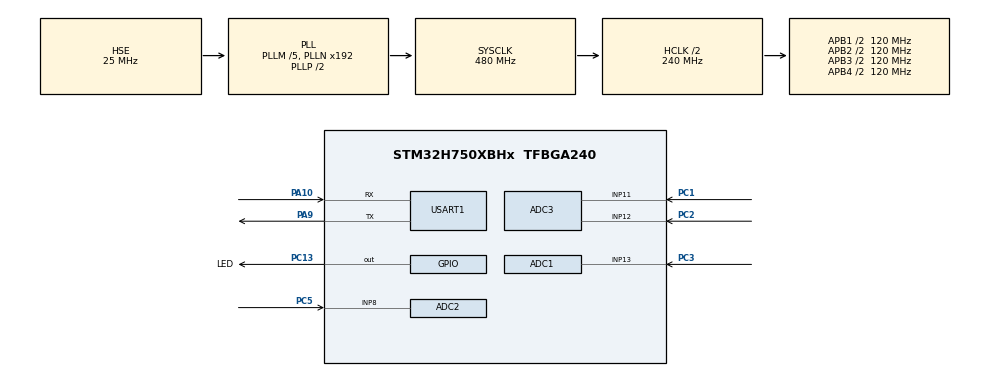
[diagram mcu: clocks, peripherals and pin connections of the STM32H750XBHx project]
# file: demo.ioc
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ADC1.Channel-0\#ChannelRegularConversion=ADC_CHANNEL_12
ADC1.Channel-1\#ChannelRegularConversion=ADC_CHANNEL_13
ADC1.ContinuousConvMode=ENABLE
ADC1.ConversionDataManagement=ADC_CONVERSIONDATA_DMA_CIRCULAR
ADC1.NbrOfConversion=2
ADC1.NbrOfConversionFlag=1
ADC1.OffsetNumber-0\#ChannelRegularConversion=ADC_OFFSET_NONE
ADC1.OffsetNumber-1\#ChannelRegularConversion=ADC_OFFSET_NONE
ADC1.OffsetSignedSaturation-0\#ChannelRegularConversion=DISABLE
ADC1.OffsetSignedSaturation-1\#ChannelRegularConversion=DISABLE
ADC1.Overrun=ADC_OVR_DATA_OVERWRITTEN
ADC1.OversamplingMode=ENABLE
ADC1.Rank-0\#ChannelRegularConversion=1
ADC1.Rank-1\#ChannelRegularConversion=2
ADC1.Ratio=1024
ADC1.RightBitShift=ADC_RIGHTBITSHIFT_10
ADC1.SamplingTime-0\#ChannelRegularConversion=ADC_SAMPLETIME_810CYCLES_5
ADC1.SamplingTime-1\#ChannelRegularConversion=ADC_SAMPLETIME_810CYCLES_5
ADC1.master=1
ADC2.Channel-2\#ChannelRegularConversion=ADC_CHANNEL_8
ADC2.ConversionDataManagement=ADC_CONVERSIONDATA_DMA_CIRCULAR
ADC2.ExternalTrigConv=ADC_EXTERNALTRIG_T6_TRGO
ADC2.NbrOfConversionFlag=1
ADC2.OffsetNumber-2\#ChannelRegularConversion=ADC_OFFSET_NONE
ADC2.OffsetSignedSaturation-2\#ChannelRegularConversion=DISABLE
ADC2.Overrun=ADC_OVR_DATA_OVERWRITTEN
ADC2.Rank-2\#ChannelRegularConversion=1
ADC2.SamplingTime-2\#ChannelRegularConversion=ADC_SAMPLETIME_810CYCLES_5
ADC3.Channel-0\#ChannelRegularConversion=ADC_CHANNEL_11
ADC3.Channel-1\#ChannelRegularConversion=ADC_CHANNEL_12
ADC3.Channel-2\#ChannelRegularConversion=ADC_CHANNEL_VREFINT
ADC3.Channel-4\#ChannelRegularConversion=ADC_CHANNEL_TEMPSENSOR
ADC3.ContinuousConvMode=ENABLE
ADC3.ConversionDataManagement=ADC_CONVERSIONDATA_DMA_CIRCULAR
ADC3.NbrOfConversion=4
ADC3.NbrOfConversionFlag=1
ADC3.OffsetNumber-0\#ChannelRegularConversion=ADC_OFFSET_NONE
ADC3.OffsetNumber-1\#ChannelRegularConversion=ADC_OFFSET_NONE
ADC3.OffsetNumber-2\#ChannelRegularConversion=ADC_OFFSET_NONE
ADC3.OffsetNumber-4\#ChannelRegularConversion=ADC_OFFSET_NONE
ADC3.OffsetSignedSaturation-0\#ChannelRegularConversion=DISABLE
ADC3.OffsetSignedSaturation-1\#ChannelRegularConversion=DISABLE
ADC3.OffsetSignedSaturation-2\#ChannelRegularConversion=DISABLE
ADC3.OffsetSignedSaturation-4\#ChannelRegularConversion=DISABLE
ADC3.Overrun=ADC_OVR_DATA_OVERWRITTEN
ADC3.OversamplingMode=DISABLE
ADC3.Rank-0\#ChannelRegularConversion=1
ADC3.Rank-1\#ChannelRegularConversion=2
ADC3.Rank-2\#ChannelRegularConversion=3
ADC3.Rank-4\#ChannelRegularConversion=4
ADC3.SamplingTime-0\#ChannelRegularConversion=ADC_SAMPLETIME_810CYCLES_5
ADC3.SamplingTime-1\#ChannelRegularConversion=ADC_SAMPLETIME_810CYCLES_5
ADC3.SamplingTime-2\#ChannelRegularConversion=ADC_SAMPLETIME_810CYCLES_5
ADC3.SamplingTime-4\#ChannelRegularConversion=ADC_SAMPLETIME_810CYCLES_5
Bdma.ADC3.0.Direction=DMA_PERIPH_TO_MEMORY
Bdma.ADC3.0.EventEnable=DISABLE
Bdma.ADC3.0.Instance=BDMA_Channel0
Bdma.ADC3.0.MemDataAlignment=DMA_MDATAALIGN_HALFWORD
Bdma.ADC3.0.MemInc=DMA_MINC_ENABLE
Bdma.ADC3.0.Mode=DMA_CIRCULAR
Bdma.ADC3.0.PeriphDataAlignment=DMA_PDATAALIGN_HALFWORD
Bdma.ADC3.0.PeriphInc=DMA_PINC_DISABLE
Bdma.ADC3.0.Polarity=HAL_DMAMUX_REQ_GEN_RISING
Bdma.ADC3.0.Priority=DMA_PRIORITY_LOW
Bdma.ADC3.0.RequestNumber=1
Bdma.ADC3.0.SignalID=NONE
Bdma.ADC3.0.SyncEnable=ENABLE
Bdma.ADC3.0.SyncPolarity=HAL_DMAMUX_SYNC_RISING
Bdma.ADC3.0.SyncRequestNumber=1
Bdma.ADC3.0.SyncSignalID=NONE
Bdma.Request0=ADC3
Bdma.RequestsNb=1
CORTEX_M7.CPU_DCache=Enabled
CORTEX_M7.default_mode_Activation=1
Dma.ADC1.0.Direction=DMA_PERIPH_TO_MEMORY
Dma.ADC1.0.EventEnable=DISABLE
Dma.ADC1.0.FIFOMode=DMA_FIFOMODE_DISABLE
Dma.ADC1.0.Instance=DMA1_Stream0
Dma.ADC1.0.MemDataAlignment=DMA_MDATAALIGN_HALFWORD
Dma.ADC1.0.MemInc=DMA_MINC_ENABLE
Dma.ADC1.0.Mode=DMA_CIRCULAR
Dma.ADC1.0.PeriphDataAlignment=DMA_PDATAALIGN_HALFWORD
Dma.ADC1.0.PeriphInc=DMA_PINC_DISABLE
Dma.ADC1.0.Polarity=HAL_DMAMUX_REQ_GEN_RISING
Dma.ADC1.0.Priority=DMA_PRIORITY_LOW
Dma.ADC1.0.RequestNumber=1
Dma.ADC1.0.SignalID=NONE
Dma.ADC1.0.SyncEnable=DISABLE
Dma.ADC1.0.SyncPolarity=HAL_DMAMUX_SYNC_NO_EVENT
Dma.ADC1.0.SyncRequestNumber=1
Dma.ADC1.0.SyncSignalID=NONE
Dma.ADC2.1.Direction=DMA_PERIPH_TO_MEMORY
Dma.ADC2.1.EventEnable=DISABLE
Dma.ADC2.1.FIFOMode=DMA_FIFOMODE_DISABLE
Dma.ADC2.1.Instance=DMA1_Stream1
Dma.ADC2.1.MemDataAlignment=DMA_MDATAALIGN_HALFWORD
Dma.ADC2.1.MemInc=DMA_MINC_ENABLE
Dma.ADC2.1.Mode=DMA_CIRCULAR
Dma.ADC2.1.PeriphDataAlignment=DMA_PDATAALIGN_HALFWORD
Dma.ADC2.1.PeriphInc=DMA_PINC_DISABLE
Dma.ADC2.1.Polarity=HAL_DMAMUX_REQ_GEN_RISING
Dma.ADC2.1.Priority=DMA_PRIORITY_LOW
Dma.ADC2.1.RequestNumber=1
Dma.ADC2.1.SignalID=NONE
Dma.ADC2.1.SyncEnable=DISABLE
Dma.ADC2.1.SyncPolarity=HAL_DMAMUX_SYNC_NO_EVENT
Dma.ADC2.1.SyncRequestNumber=1
Dma.ADC2.1.SyncSignalID=NONE
Dma.Request0=ADC1
Dma.Request1=ADC2
Mcu.Family=STM32H7
Mcu.Name=STM32H750XBHx
Mcu.Package=TFBGA240
NVIC.BDMA_Channel0_IRQn=true\:0\:0\:false\:false\:true\:false\:true\:true
NVIC.DMA1_Stream0_IRQn=true\:0\:0\:false\:false\:true\:false\:true\:true
NVIC.DMA1_Stream1_IRQn=true\:0\:0\:false\:false\:true\:false\:true\:true
NVIC.DMAMUX2_OVR_IRQn=true\:0\:0\:false\:false\:true\:false\:true\:true
NVIC.PriorityGroup=NVIC_PRIORITYGROUP_4
PA10.Mode=Asynchronous
PA10.Signal=USART1_RX
PA13\ (JTMS/SWDIO).Mode=Serial_Wire
PA13\ (JTMS/SWDIO).Signal=DEBUG_JTMS-SWDIO
PA14\ (JTCK/SWCLK).Mode=Serial_Wire
PA14\ (JTCK/SWCLK).Signal=DEBUG_JTCK-SWCLK
PA9.Mode=Asynchronous
PA9.Signal=USART1_TX
PC1.Signal=ADCx_INP11
PC13.GPIO_Label=LED
PC13.GPIO_PuPd=GPIO_PULLUP
PC13.PinState=GPIO_PIN_SET
PC13.Signal=GPIO_Output
PC2.Signal=ADCx_INP12
PC3.Signal=ADCx_INP13
PC5.Signal=ADCx_INP8
PH0-OSC_IN\ (PH0).Mode=HSE-External-Oscillator
PH0-OSC_IN\ (PH0).Signal=RCC_OSC_IN
PH1-OSC_OUT\ (PH1).Mode=HSE-External-Oscillator
PH1-OSC_OUT\ (PH1).Signal=RCC_OSC_OUT
ProjectManager.HeapSize=0x200
ProjectManager.StackSize=0x400
ProjectManager.TargetToolchain=MDK-ARM V5.32
RCC.ADCFreq_Value=75000000
RCC.APB1Freq_Value=120000000
RCC.APB2Freq_Value=120000000
RCC.APB3Freq_Value=120000000
RCC.APB4Freq_Value=120000000
RCC.CortexFreq_Value=480000000
RCC.D1PPRE=RCC_APB3_DIV2
RCC.D2PPRE1=RCC_APB1_DIV2
RCC.D2PPRE2=RCC_APB2_DIV2
RCC.D3PPRE=RCC_APB4_DIV2
RCC.DIVM1=5
RCC.DIVM2=2
RCC.DIVN1=192
RCC.DIVN2=12
RCC.HCLKFreq_Value=240000000
RCC.HPRE=RCC_HCLK_DIV2
RCC.PLL2FRACN=0
RCC.PLL3FRACN=0
RCC.PLLFRACN=0
RCC.PLLSourceVirtual=RCC_PLLSOURCE_HSE
RCC.PWR_Regulator_Voltage_Scale=PWR_REGULATOR_VOLTAGE_SCALE0
RCC.SYSCLKFreq_VALUE=480000000
RCC.SYSCLKSource=RCC_SYSCLKSOURCE_PLLCLK
RCC.USBFreq_Value=480000000
SH.ADCx_INP11.0=ADC3_INP11,IN11-Single-Ended
SH.ADCx_INP12.0=ADC3_INP12,IN12-Single-Ended
SH.ADCx_INP12.1=ADC1_INP12,IN12-Single-Ended
SH.ADCx_INP13.0=ADC1_INP13,IN13-Single-Ended
SH.ADCx_INP8.0=ADC2_INP8,IN8-Single-Ended
TIM6.AutoReloadPreload=TIM_AUTORELOAD_PRELOAD_ENABLE
TIM6.Period=500-1
TIM6.Prescaler=240-1
TIM6.TIM_MasterOutputTrigger=TIM_TRGO_UPDATE
USART1.VirtualMode-Asynchronous=VM_ASYNC
VP_ADC3_TempSens_Input.Mode=IN-TempSens
VP_ADC3_Vref_Input.Mode=IN-Vrefint
VP_TIM6_VS_ClockSourceINT.Mode=Enable_Timer
board=custom

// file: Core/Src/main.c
/* USER CODE BEGIN Header */
/**
 ******************************************************************************
 * @file           : main.c
 * @brief          : Main program body
 ******************************************************************************
 * @attention
 *
 * Copyright (c) 2023 STMicroelectronics.
 * All rights reserved.
 *
 * This software is licensed under terms that can be found in the LICENSE file
 * in the root directory of this software component.
 * If no LICENSE file comes with this software, it is provided AS-IS.
 *
 ******************************************************************************
 */
/* USER CODE END Header */
#include "main.h"
#include "adc.h"
#include "bdma.h"
#include "dma.h"
#include "tim.h"
#include "usart.h"
#include "gpio.h"

/* USER CODE BEGIN Includes */
#include "bsp.h"
/* USER CODE END Includes */

void        SystemClock_Config(void);
void        PeriphCommonClock_Config(void);
static void MPU_Config(void);

/* USER CODE BEGIN 0 */

#define ARRAY_SIZE(arr) (sizeof(arr) / sizeof(*arr))

//-----------------------------------------------------------------------------
//

#if defined(__CC_ARM)  // AC5
#define __AT_ADDR(addr) __attribute__((at(addr)))
#elif defined(__GNUC__)  // AC6
#define __AT_ADDR(addr) __attribute__((section(".ARM.__at_" #addr)))
#endif

__AT_ADDR(0x24000000)
ALIGN_32BYTES(__IO uint16_t ADC1_Conv[2]) = {0};  // AXI

__AT_ADDR(0x24000000)
ALIGN_32BYTES(__IO uint16_t ADC2_Conv[2048]) = {0};  // AXI

__AT_ADDR(0x38000000)
ALIGN_32BYTES(__IO uint16_t ADC3_Conv[4]) = {0};  // SRAM4

//-----------------------------------------------------------------------------
//

static uint8_t        ADC2_Conv_DmaStage = 0;
static const uint16_t ADC2_Conv_HalfSize = ARRAY_SIZE(ADC2_Conv) / 2;

void ADC2_DMA_CallBack(void)  // call in DMAx_Streamx_IRQHandler()
{
    // DMA double buffer

    if ((DMA1->LISR & DMA_FLAG_HTIF1_5) != RESET)  // HalfCplt
    {
        SCB_InvalidateDCache_by_Addr((uint32_t*)(&ADC2_Conv[0]), ADC2_Conv_HalfSize);
        ADC2_Conv_DmaStage = 1;
    }
    else if ((DMA1->LISR & DMA_FLAG_TCIF1_5) != RESET)  // Cplt
    {
        SCB_InvalidateDCache_by_Addr((uint32_t*)(&ADC2_Conv[ADC2_Conv_HalfSize]), ADC2_Conv_HalfSize);
        ADC2_Conv_DmaStage = 2;
    }
}

/* USER CODE END 0 */

int main(void)
{

    /* MPU Configuration--------------------------------------------------------*/
    MPU_Config();

    /* Enable D-Cache---------------------------------------------------------*/
    SCB_EnableDCache();

    /* MCU Configuration--------------------------------------------------------*/

    /* Reset of all peripherals, Initializes the Flash interface and the Systick. */
    HAL_Init();

    /* Configure the system clock */
    SystemClock_Config();

    /* Configure the peripherals common clocks */
    PeriphCommonClock_Config();

    /* Initialize all configured peripherals */
    MX_GPIO_Init();
    MX_BDMA_Init();
    MX_DMA_Init();
    MX_ADC3_Init();
    MX_ADC1_Init();
    MX_USART1_UART_Init();
    MX_ADC2_Init();
    MX_TIM6_Init();
    /* USER CODE BEGIN 2 */

    DelayNonInit();

    uint32_t ADC_CalibrationMode;
#if 1
    ADC_CalibrationMode = ADC_CALIB_OFFSET;  // ƫ��У׼
#else
    ADC_CalibrationMode = ADC_CALIB_OFFSET_LINEARITY;  // ���Զ�У׼
#endif

    if (HAL_ADCEx_Calibration_Start(&hadc1, ADC_CalibrationMode, ADC_SINGLE_ENDED) != HAL_OK)
    {
        Error_Handler();
    }
    if (HAL_ADCEx_Calibration_Start(&hadc2, ADC_CalibrationMode, ADC_SINGLE_ENDED) != HAL_OK)
    {
        Error_Handler();
    }
    if (HAL_ADCEx_Calibration_Start(&hadc3, ADC_CalibrationMode, ADC_SINGLE_ENDED) != HAL_OK)
    {
        Error_Handler();
    }

    HAL_ADC_Start_DMA(&hadc1, (uint32_t*)ADC1_Conv, ARRAY_SIZE(ADC1_Conv));
    HAL_ADC_Start_DMA(&hadc2, (uint32_t*)ADC2_Conv, ARRAY_SIZE(ADC2_Conv));
    HAL_ADC_Start_DMA(&hadc3, (uint32_t*)ADC3_Conv, ARRAY_SIZE(ADC3_Conv));

    HAL_TIM_Base_Start(&htim6);

    /* USER CODE END 2 */

    /* Infinite loop */
    /* USER CODE BEGIN WHILE */

    // ADC1: PC2,PC3
    // ADC2: PC5
    // ADC3: PC1,PC2,VRefint,ChipTemp

    while (1)
    {
        //-----------------------------------------------------------------------------
        // Display Voltage

        static uint32_t tDispConvAD = 0;

        if (DelayNonBlock(tDispConvAD, 100))
        {
            static uint16_t nSampleIndex = 0;

            tDispConvAD = DelayNonGetTick();

            SCB_InvalidateDCache_by_Addr((uint32_t*)(&ADC1_Conv[0]), ARRAY_SIZE(ADC1_Conv));
            SCB_InvalidateDCache_by_Addr((uint32_t*)(&ADC3_Conv[0]), ARRAY_SIZE(ADC3_Conv));

            printf("%5d | ", nSampleIndex++);

            for (uint16_t i = 0; i < ARRAY_SIZE(ADC1_Conv); ++i)
            {
                // ADC1_Conv[i] /= hadc1.Init.Oversampling.Ratio;
                printf("%.6f ", AD2VOL(ADC1_Conv[i]));
            }

            for (uint16_t i = 0; i < ARRAY_SIZE(ADC3_Conv); ++i)
            {
                printf("%.6f ", (i == 3) ? TS_ConvTemp(ADC3_Conv[i]) : AD2VOL(ADC3_Conv[i]));
            }

            printf("\n");
        }

        //-----------------------------------------------------------------------------
        // Display Frequency and Phase

        if (ADC2_Conv_DmaStage != 0)
        {
            static uint16_t nSampleIndex = 0;

            ADC2_Conv_DmaStage = 0;

            __disable_irq();
            // fft
            __enable_irq();

            printf("%5d | ", nSampleIndex++);

            printf("\n");
        }

        /* USER CODE END WHILE */

    }
}

void SystemClock_Config(void)
{
    RCC_OscInitTypeDef RCC_OscInitStruct = {0};
    RCC_ClkInitTypeDef RCC_ClkInitStruct = {0};

    /** Supply configuration update enable
     */
    HAL_PWREx_ConfigSupply(PWR_LDO_SUPPLY);

    /** Configure the main internal regulator output voltage
     */
    __HAL_PWR_VOLTAGESCALING_CONFIG(PWR_REGULATOR_VOLTAGE_SCALE1);

    while (!__HAL_PWR_GET_FLAG(PWR_FLAG_VOSRDY)) {}

    __HAL_RCC_SYSCFG_CLK_ENABLE();
    __HAL_PWR_VOLTAGESCALING_CONFIG(PWR_REGULATOR_VOLTAGE_SCALE0);

    while (!__HAL_PWR_GET_FLAG(PWR_FLAG_VOSRDY)) {}

    /** Initializes the RCC Oscillators according to the specified parameters
     * in the RCC_OscInitTypeDef structure.
     */
    RCC_OscInitStruct.OscillatorType = RCC_OSCILLATORTYPE_HSE;
    RCC_OscInitStruct.HSEState       = RCC_HSE_ON;
    RCC_OscInitStruct.PLL.PLLState   = RCC_PLL_ON;
    RCC_OscInitStruct.PLL.PLLSource  = RCC_PLLSOURCE_HSE;
    RCC_OscInitStruct.PLL.PLLM       = 5;
    RCC_OscInitStruct.PLL.PLLN       = 192;
    RCC_OscInitStruct.PLL.PLLP       = 2;
    RCC_OscInitStruct.PLL.PLLQ       = 2;
    RCC_OscInitStruct.PLL.PLLR       = 2;
    RCC_OscInitStruct.PLL.PLLRGE     = RCC_PLL1VCIRANGE_2;
    RCC_OscInitStruct.PLL.PLLVCOSEL  = RCC_PLL1VCOWIDE;
    RCC_OscInitStruct.PLL.PLLFRACN   = 0;
    if (HAL_RCC_OscConfig(&RCC_OscInitStruct) != HAL_OK)
    {
        Error_Handler();
    }

    /** Initializes the CPU, AHB and APB buses clocks
     */
    RCC_ClkInitStruct.ClockType      = RCC_CLOCKTYPE_HCLK | RCC_CLOCKTYPE_SYSCLK | RCC_CLOCKTYPE_PCLK1 | RCC_CLOCKTYPE_PCLK2 | RCC_CLOCKTYPE_D3PCLK1 | RCC_CLOCKTYPE_D1PCLK1;
    RCC_ClkInitStruct.SYSCLKSource   = RCC_SYSCLKSOURCE_PLLCLK;
    RCC_ClkInitStruct.SYSCLKDivider  = RCC_SYSCLK_DIV1;
    RCC_ClkInitStruct.AHBCLKDivider  = RCC_HCLK_DIV2;
    RCC_ClkInitStruct.APB3CLKDivider = RCC_APB3_DIV2;
    RCC_ClkInitStruct.APB1CLKDivider = RCC_APB1_DIV2;
    RCC_ClkInitStruct.APB2CLKDivider = RCC_APB2_DIV2;
    RCC_ClkInitStruct.APB4CLKDivider = RCC_APB4_DIV2;

    if (HAL_RCC_ClockConfig(&RCC_ClkInitStruct, FLASH_LATENCY_4) != HAL_OK)
    {
        Error_Handler();
    }
}

void PeriphCommonClock_Config(void)
{
    RCC_PeriphCLKInitTypeDef PeriphClkInitStruct = {0};

    /** Initializes the peripherals clock
     */
    PeriphClkInitStruct.PeriphClockSelection = RCC_PERIPHCLK_ADC;
    PeriphClkInitStruct.PLL2.PLL2M           = 2;
    PeriphClkInitStruct.PLL2.PLL2N           = 12;
    PeriphClkInitStruct.PLL2.PLL2P           = 2;
    PeriphClkInitStruct.PLL2.PLL2Q           = 2;
    PeriphClkInitStruct.PLL2.PLL2R           = 2;
    PeriphClkInitStruct.PLL2.PLL2RGE         = RCC_PLL2VCIRANGE_3;
    PeriphClkInitStruct.PLL2.PLL2VCOSEL      = RCC_PLL2VCOMEDIUM;
    PeriphClkInitStruct.PLL2.PLL2FRACN       = 0;
    PeriphClkInitStruct.AdcClockSelection    = RCC_ADCCLKSOURCE_PLL2;
    if (HAL_RCCEx_PeriphCLKConfig(&PeriphClkInitStruct) != HAL_OK)
    {
        Error_Handler();
    }
}

/* MPU Configuration */

void MPU_Config(void)
{
    MPU_Region_InitTypeDef MPU_InitStruct = {0};

    /* Disables the MPU */
    HAL_MPU_Disable();

    /** Initializes and configures the Region and the memory to be protected
     */
    MPU_InitStruct.Enable           = MPU_REGION_ENABLE;
    MPU_InitStruct.Number           = MPU_REGION_NUMBER0;
    MPU_InitStruct.BaseAddress      = 0x0;
    MPU_InitStruct.Size             = MPU_REGION_SIZE_4GB;
    MPU_InitStruct.SubRegionDisable = 0x87;
    MPU_InitStruct.TypeExtField     = MPU_TEX_LEVEL0;
    MPU_InitStruct.AccessPermission = MPU_REGION_NO_ACCESS;
    MPU_InitStruct.DisableExec      = MPU_INSTRUCTION_ACCESS_DISABLE;
    MPU_InitStruct.IsShareable      = MPU_ACCESS_SHAREABLE;
    MPU_InitStruct.IsCacheable      = MPU_ACCESS_NOT_CACHEABLE;
    MPU_InitStruct.IsBufferable     = MPU_ACCESS_NOT_BUFFERABLE;

    HAL_MPU_ConfigRegion(&MPU_InitStruct);
    /* Enables the MPU */
    HAL_MPU_Enable(MPU_PRIVILEGED_DEFAULT);
}

void Error_Handler(void)
{
    __disable_irq();
    while (1)
    {
    }
}
